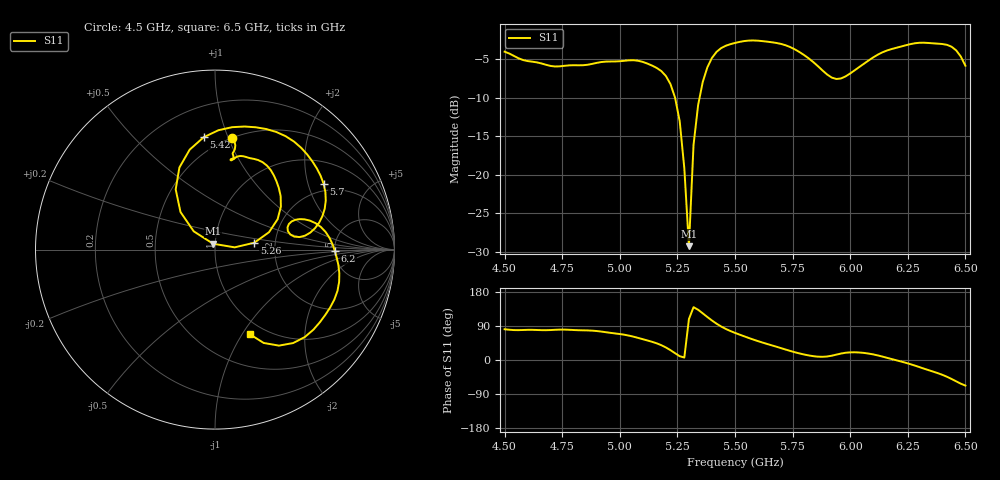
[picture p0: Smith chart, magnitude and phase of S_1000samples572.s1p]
! TOUCHSTONE file generated by CST MICROWAVE STUDIO
! Date and time: Fri Oct 28 15:40:58 2022
! Project name: L.cst
! Parameters = {Di=1.27; Epsilon_r=1.56; InnerDiameter=1.27; Length=2; Lf=10; Lg=60; OuterConductorThickness=0.2921; OuterDiameter=3.6; Wf=3; Wp=41.2; de=1.5; df=6.8; g=0.8; gx=0.506209; gy=3.4329; h=2.34; hf=1.524; px=11.2941; py=12.3714; w=9.7; wx=10.7878; wy=8.9385}
! Header version: 2018
! Port assignment regex: !\s*Touchstone port\s*([0-9]+)\s*=\s*(CST MWS port|CST DS port)\s*([0-9]+|Zmin|Zmax)\s*\(\"(.*)\"\)(\s*mode\s*([0-9]+))?.*
! Touchstone port assignment:
! Touchstone port 1 = CST MWS port 1 ("")
# GHz S DB R 50
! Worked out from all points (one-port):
!   101 points, 4.5 GHz to 6.5 GHz, reference 50 ohm
!   lowest |S11| = -29.3 dB at 5.3 GHz (marker M1), VSWR 1.07, Z = 48.8 + j3.19 ohm
!   |S11| at or under -10 dB: 5.24 GHz to 5.346 GHz (106.2 MHz wide, 2.01 % of centre)
!   S11 on the Smith chart (normalised r, x): 4.5 GHz: 0.50, +1.03; 5.26 GHz: 1.56, +0.13; 5.42 GHz: 0.40, +0.82; 5.7 GHz: 1.71, +2.52; 6.2 GHz: 5.02, -0.15; 6.5 GHz: 0.85, -1.08
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4.5  -4.01 81.2
4.58  -5.09 79.2
4.76  -5.84 80.2
5  -5.25 68.5
5.08  -5.19 58.2
5.18  -6.52 39.2
5.22  -8.23 25.9
5.26  -13.05 10.0
5.28  -19.15 6.5
5.3  -29.28 108.0
5.32  -16.13 139.4
5.34  -10.93 132.6
5.38  -6.05 113.4
5.42  -4.03 95.8
5.5  -2.87 71.6
5.6  -2.58 49.7
5.7  -3.00 31.3
5.76  -3.71 20.4
5.88  -6.45 8.4
5.94  -7.56 14.2
6  -6.84 20.2
6.1  -4.75 14.8
6.2  -3.50 -0.7
6.26  -3.04 -10.7
6.32  -2.84 -22.8
6.4  -3.01 -39.1
6.46  -3.84 -56.3
6.5  -5.83 -67.5
